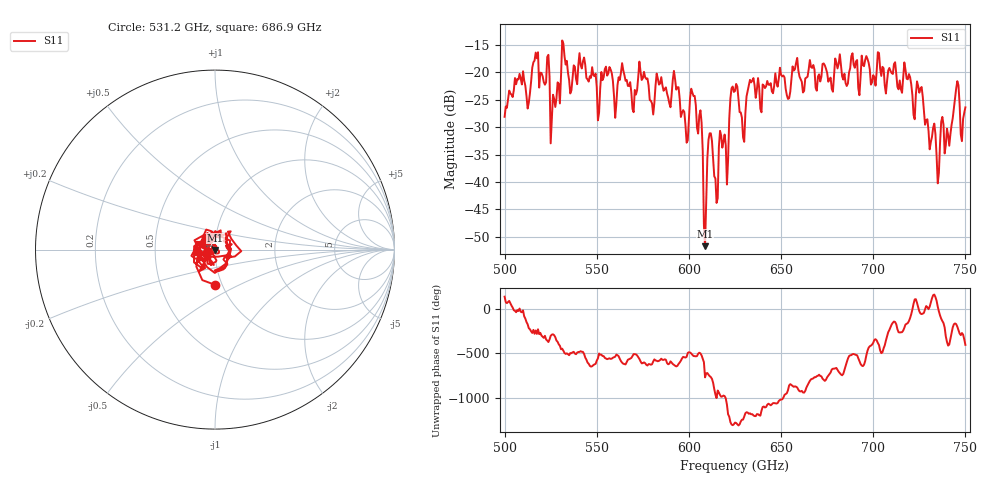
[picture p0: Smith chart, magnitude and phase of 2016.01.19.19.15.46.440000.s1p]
!Created with skrf (http://scikit-rf.org).
# GHz S RI R 50.0
!freq ReS11 ImS11
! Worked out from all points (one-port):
!   401 points, 500 GHz to 750 GHz, reference 50 ohm
!   lowest |S11| = -51.7 dB at 608.8 GHz (marker M1), VSWR 1.01, Z = 50.2 - j0.203 ohm
!   |S11| at or under -10 dB: start of sweep to end of sweep
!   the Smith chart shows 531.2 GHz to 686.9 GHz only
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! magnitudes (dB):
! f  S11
! 500 GHz  -28.1
! 506.9 GHz  -21.2
! 513.1 GHz  -25.5
! 516.9 GHz  -16.4
! 523.1 GHz  -17.2
! 526.2 GHz  -24.1
! 531.2 GHz  -14.2
! 550.6 GHz  -28.7
! 562.5 GHz  -21.4
! 570 GHz  -27.3
! 574.4 GHz  -21.4
! 580 GHz  -25.7
! 593.8 GHz  -22.7
! 598.8 GHz  -32.8
! 602.5 GHz  -24.3
! 606.2 GHz  -26.9
! 608.8 GHz  -51.7
! 611.2 GHz  -31.1
! 614.4 GHz  -39.4
! 625 GHz  -23.4
! 629.4 GHz  -31.8
! 633.8 GHz  -21.8
! 656.2 GHz  -18.9
! 687.5 GHz  -19.2
! 718.8 GHz  -21.2
! 735 GHz  -40.2
! 745 GHz  -22.9
! 750 GHz  -26.4
